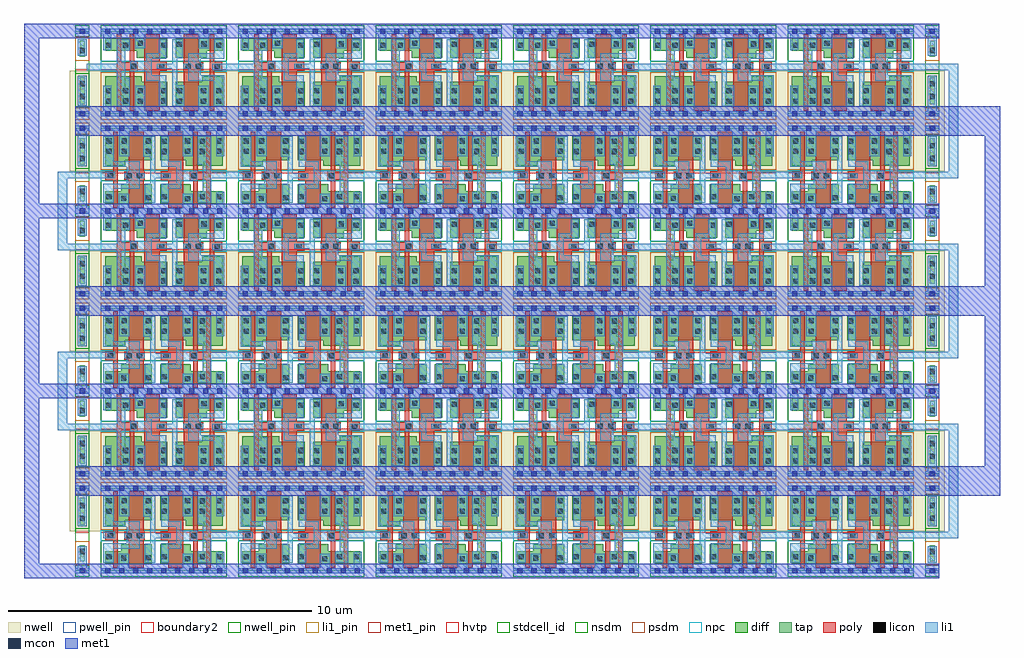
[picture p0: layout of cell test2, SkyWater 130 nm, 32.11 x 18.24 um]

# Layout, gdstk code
from math import pi, radians
import gdstk
lib = gdstk.Library(unit=1e-6, precision=1e-09)
def R(c, l, rs):  # rectangles x0, y0, x1, y1
    for r in rs: c.add(gdstk.rectangle(r[:2], r[2:], *l))
def A(c, l, x, y, w, h, nx, ny, dx, dy):  # array of equal rectangles
    R(c, l, [(x+i*dx, y+j*dy, x+i*dx+w, y+j*dy+h) for i in range(nx) for j in range(ny)])
def P(c, l, *ps):  # polygons
    for p in ps: c.add(gdstk.Polygon(p, *l))
nwell_pin = (64, 16)
nwell = (64, 20)
diff = (65, 20)
tap = (65, 44)
poly = (66, 20)
licon = (66, 44)
li1_pin = (67, 16)
li1 = (67, 20)
mcon = (67, 44)
met1_pin = (68, 16)
met1 = (68, 20)
hvtp = (78, 44)
stdcell_id = (81, 4)
nsdm = (93, 44)
psdm = (94, 20)
npc = (95, 20)
pwell_pin = (122, 16)
boundary2 = (236, 0)

sky130_fd_sc_hd__tap_1 = lib.new_cell('sky130_fd_sc_hd__tap_1')
R(sky130_fd_sc_hd__tap_1, nwell, [(-0.19,1.305,0.65,2.91)])
R(sky130_fd_sc_hd__tap_1, tap, [(0.145,0.32,0.315,0.845), (0.145,1.525,0.315,2.4)])
R(sky130_fd_sc_hd__tap_1, licon, [(0.145,0.555,0.315,0.725), (0.145,1.645,0.315,1.815), (0.145,2.065,0.315,2.235)])
R(sky130_fd_sc_hd__tap_1, li1_pin, [(0.19,0.47,0.27,0.565), (0.145,1.81,0.285,1.93)])
R(sky130_fd_sc_hd__tap_1, li1, [(0.085,0.265,0.375,0.81), (0.085,1.47,0.375,2.455)])
R(sky130_fd_sc_hd__tap_1, mcon, [(0.145,-0.085,0.315,0.085), (0.145,2.635,0.315,2.805)])
R(sky130_fd_sc_hd__tap_1, met1_pin, [(0.14,-0.05,0.34,0.07), (0.13,2.675,0.345,2.775)])
R(sky130_fd_sc_hd__tap_1, hvtp, [(0,1.25,0.46,2.72)])
R(sky130_fd_sc_hd__tap_1, stdcell_id, [(0,0,0.46,2.72)])
R(sky130_fd_sc_hd__tap_1, nsdm, [(0,-0.19,0.46,0.19), (0,1.395,0.46,2.53)])
R(sky130_fd_sc_hd__tap_1, psdm, [(0,0.19,0.46,0.975), (0,2.53,0.46,2.91)])
sky130_fd_sc_hd__tap_1.add(gdstk.FlexPath([(0,2.72),(0.46,2.72)], 0.48, ends="flush", simple_path=True, layer=68, datatype=20))  # met1
sky130_fd_sc_hd__tap_1.add(gdstk.FlexPath([(0,0),(0.46,0)], 0.48, ends="flush", simple_path=True, layer=68, datatype=20))  # met1
sky130_fd_sc_hd__tap_1.add(gdstk.FlexPath([(0,0),(0.46,0)], 0.17, ends="flush", simple_path=True, layer=67, datatype=20))  # li1
sky130_fd_sc_hd__tap_1.add(gdstk.FlexPath([(0,2.72),(0.46,2.72)], 0.17, ends="flush", simple_path=True, layer=67, datatype=20))  # li1
sky130_fd_sc_hd__tap_1.add(gdstk.Label('VGND', (0.23,0), layer=68, texttype=5))
sky130_fd_sc_hd__tap_1.add(gdstk.Label('VPWR', (0.23,2.72), layer=68, texttype=5))
sky130_fd_sc_hd__tap_1.add(gdstk.Label('VNB', (0.23,0.51), layer=67, texttype=5))
sky130_fd_sc_hd__tap_1.add(gdstk.Label('VPB', (0.23,1.87), layer=67, texttype=5))
sky130_fd_sc_hd__tap_1.add(gdstk.Label('tap_1', (0,0), layer=83, texttype=44))

sky130_fd_sc_hd__clkdlyb = lib.new_cell('sky130_fd_sc_hd__clkdlybuf4s50_2')
R(sky130_fd_sc_hd__clkdlyb, nwell_pin, [(0.15,2.635,0.32,2.805)])
R(sky130_fd_sc_hd__clkdlyb, nwell, [(-0.19,1.305,4.33,2.91)])
P(sky130_fd_sc_hd__clkdlyb, diff, [(1.68,2.485),(0.135,2.485),(0.135,1.485),(0.805,1.485),(0.805,1.665),(1.68,1.665)],
  [(1.68,0.885),(0.665,0.885),(0.665,0.655),(0.135,0.655),(0.135,0.235),(1.68,0.235)],
  [(4.005,2.485),(1.95,2.485),(1.95,1.665),(2.79,1.665),(2.79,1.485),(4.005,1.485)],
  [(4.005,0.655),(2.96,0.655),(2.96,0.885),(1.95,0.885),(1.95,0.235),(4.005,0.235)])
P(sky130_fd_sc_hd__clkdlyb, poly, [(0.555,2.615),(0.405,2.615),(0.405,1.305),(0.15,1.305),(0.15,1.015),(0.405,1.015),(0.405,0.105),(0.555,0.105)],
  [(1.435,1.295),(1.415,1.295),(1.415,2.615),(0.915,2.615),(0.915,1.295),(0.765,1.295),(0.765,1.025),(0.915,1.025),(0.915,0.105),(1.415,0.105),(1.415,1.025),(1.435,1.025)],
  [(2.71,2.615),(2.21,2.615),(2.21,1.305),(1.975,1.305),(1.975,1.015),(2.21,1.015),(2.21,0.105),(2.71,0.105)],
  [(3.615,2.615),(3.465,2.615),(3.465,1.295),(3.19,1.295),(3.19,2.615),(3.04,2.615),(3.04,1.325),(2.92,1.325),(2.92,0.995),(3.04,0.995),(3.04,0.105),(3.19,0.105),(3.19,1.025),(3.465,1.025),(3.465,0.105),(3.615,0.105)])
R(sky130_fd_sc_hd__clkdlyb, licon, [(2.765,0.315,2.935,0.485), (0.665,0.34,0.835,0.51), (1.47,0.35,1.64,0.52), (0.18,0.385,0.35,0.555), (1.99,0.385,2.16,0.555), (3.245,0.385,3.415,0.555), (3.795,0.385,3.965,0.555), (0.23,1.075,0.4,1.245), (0.845,1.075,1.015,1.245), (1.185,1.075,1.355,1.245), (2.055,1.075,2.225,1.245), (2.97,1.075,3.14,1.245), (1.99,1.875,2.16,2.045), (3.245,1.875,3.415,2.045), (0.18,1.88,0.35,2.05), (0.68,1.88,0.85,2.05), (1.47,1.88,1.64,2.05), (2.765,1.88,2.935,2.05), (3.795,1.88,3.965,2.05), (1.99,2.215,2.16,2.385), (3.245,2.215,3.415,2.385), (0.18,2.22,0.35,2.39), (0.68,2.22,0.85,2.39), (1.47,2.22,1.64,2.39), (2.765,2.22,2.935,2.39), (3.795,2.22,3.965,2.39)])
A(sky130_fd_sc_hd__clkdlyb, li1_pin, 3.39, 0.425, 0.17, 0.17, 1, 6, 0, 0.34)
R(sky130_fd_sc_hd__clkdlyb, li1_pin, [(0.15,1.105,0.32,1.275)])
R(sky130_fd_sc_hd__clkdlyb, li1, [(0.085,1.075,0.48,1.285)])
P(sky130_fd_sc_hd__clkdlyb, li1, [(4.14,0.085),(4.055,0.085),(4.055,0.635),(3.795,0.635),(3.795,0.085),(3.015,0.085),(3.015,0.565),(2.685,0.565),(2.685,0.085),(0.915,0.085),(0.915,0.565),(0.585,0.565),(0.585,0.085),(0,0.085),(0,-0.085),(4.14,-0.085)],
  [(4.14,2.805),(0,2.805),(0,2.635),(0.6,2.635),(0.6,1.8),(0.93,1.8),(0.93,2.635),(2.685,2.635),(2.685,1.8),(3.015,1.8),(3.015,2.635),(3.795,2.635),(3.795,1.8),(4.055,1.8),(4.055,2.635),(4.14,2.635)],
  [(1.435,1.245),(1.27,1.245),(1.27,1.63),(0.43,1.63),(0.43,2.465),(0.085,2.465),(0.085,1.455),(0.85,1.455),(0.85,1.245),(0.765,1.245),(0.765,1.075),(0.85,1.075),(0.85,0.905),(0.085,0.905),(0.085,0.27),(0.415,0.27),(0.415,0.735),(1.27,0.735),(1.27,1.075),(1.435,1.075)],
  [(2.305,1.245),(1.795,1.245),(1.795,2.465),(1.39,2.465),(1.39,1.785),(1.625,1.785),(1.625,0.9),(1.44,0.9),(1.44,0.27),(1.795,0.27),(1.795,1.075),(2.305,1.075)],
  [(3.175,1.325),(2.645,1.325),(2.645,1.63),(2.235,1.63),(2.235,2.465),(1.985,2.465),(1.985,1.46),(2.475,1.46),(2.475,0.905),(1.985,0.905),(1.985,0.27),(2.235,0.27),(2.235,0.735),(2.645,0.735),(2.645,0.995),(3.175,0.995)],
  [(3.625,2.465),(3.185,2.465),(3.185,1.53),(3.345,1.53),(3.345,0.64),(3.185,0.64),(3.185,0.27),(3.625,0.27)])
A(sky130_fd_sc_hd__clkdlyb, mcon, 0.145, -0.085, 0.17, 0.17, 9, 2, 0.46, 2.72)
R(sky130_fd_sc_hd__clkdlyb, met1_pin, [(0.15,-0.085,0.32,0.085), (0.15,2.635,0.32,2.805)])
R(sky130_fd_sc_hd__clkdlyb, hvtp, [(0,1.25,4.14,2.72)])
R(sky130_fd_sc_hd__clkdlyb, stdcell_id, [(0,0,4.14,2.72)])
R(sky130_fd_sc_hd__clkdlyb, nsdm, [(0,-0.19,4.14,1.015)])
R(sky130_fd_sc_hd__clkdlyb, psdm, [(0,1.355,4.14,2.91)])
R(sky130_fd_sc_hd__clkdlyb, npc, [(0,0.975,4.14,1.345)])
R(sky130_fd_sc_hd__clkdlyb, pwell_pin, [(0.15,-0.085,0.32,0.085)])
R(sky130_fd_sc_hd__clkdlyb, boundary2, [(0,0,4.14,2.72)])
sky130_fd_sc_hd__clkdlyb.add(gdstk.FlexPath([(0,2.72),(4.14,2.72)], 0.48, ends="flush", simple_path=True, layer=68, datatype=20))  # met1
sky130_fd_sc_hd__clkdlyb.add(gdstk.FlexPath([(0,0),(4.14,0)], 0.48, ends="flush", simple_path=True, layer=68, datatype=20))  # met1
sky130_fd_sc_hd__clkdlyb.add(gdstk.Label('A', (0.235,1.19), layer=67, texttype=5))
sky130_fd_sc_hd__clkdlyb.add(gdstk.Label('X', (3.475,2.21), layer=67, texttype=5))
sky130_fd_sc_hd__clkdlyb.add(gdstk.Label('X', (3.475,1.87), layer=67, texttype=5))
sky130_fd_sc_hd__clkdlyb.add(gdstk.Label('X', (3.475,1.53), layer=67, texttype=5))
sky130_fd_sc_hd__clkdlyb.add(gdstk.Label('X', (3.475,1.19), layer=67, texttype=5))
sky130_fd_sc_hd__clkdlyb.add(gdstk.Label('X', (3.475,0.85), layer=67, texttype=5))
sky130_fd_sc_hd__clkdlyb.add(gdstk.Label('X', (3.475,0.51), layer=67, texttype=5))
sky130_fd_sc_hd__clkdlyb.add(gdstk.Label('VNB', (0.23,0), layer=64, texttype=59))
sky130_fd_sc_hd__clkdlyb.add(gdstk.Label('VPB', (0.23,2.72), layer=64, texttype=5))
sky130_fd_sc_hd__clkdlyb.add(gdstk.Label('VGND', (0.23,0), layer=68, texttype=5))
sky130_fd_sc_hd__clkdlyb.add(gdstk.Label('VPWR', (0.23,2.72), layer=68, texttype=5))
sky130_fd_sc_hd__clkdlyb.add(gdstk.Label('clkdlybuf4s50_2', (0,0), layer=83, texttype=44))

sp_delay_rot = lib.new_cell('sp_delay_rot')
R(sp_delay_rot, li1_pin, [(1.355,0.845,1.635,2.165), (28.105,0.905,28.275,1.075), (27.18,1.475,27.35,1.645), (28.105,1.995,28.275,2.165)])
A(sp_delay_rot, li1, 4.895, 1.435, 0.98, 0.21, 5, 1, 4.52, 0)
R(sp_delay_rot, li1, [(28.045,0.085,28.335,0.265), (1.355,0.845,1.635,1.435), (28.105,0.905,28.275,1.075), (0.375,1.435,1.635,1.645), (27.18,1.475,27.35,1.645), (1.355,1.645,1.635,2.165), (28.105,1.995,28.275,2.165), (28.045,2.455,28.335,2.635)])
R(sp_delay_rot, met1, [(0,-0.24,28.42,0.24), (0,2.48,28.42,2.96)])
sp_delay_rot.add(gdstk.Reference(sky130_fd_sc_hd__tap_1, (28.42,2.72), rotation=pi))
sp_delay_rot.add(gdstk.Reference(sky130_fd_sc_hd__tap_1, (0.46,2.72), rotation=pi))
sp_delay_rot.add(gdstk.Reference(sky130_fd_sc_hd__clkdlyb, (27.58,2.72), rotation=pi))
sp_delay_rot.add(gdstk.Reference(sky130_fd_sc_hd__clkdlyb, (23.06,2.72), rotation=pi))
sp_delay_rot.add(gdstk.Reference(sky130_fd_sc_hd__clkdlyb, (18.54,2.72), rotation=pi))
sp_delay_rot.add(gdstk.Reference(sky130_fd_sc_hd__clkdlyb, (14.02,2.72), rotation=pi))
sp_delay_rot.add(gdstk.Reference(sky130_fd_sc_hd__clkdlyb, (9.5,2.72), rotation=pi))
sp_delay_rot.add(gdstk.Reference(sky130_fd_sc_hd__clkdlyb, (4.98,2.72), rotation=pi))
sp_delay_rot.add(gdstk.Label('VCC', (28.19,0.99), layer=67, texttype=5))
sp_delay_rot.add(gdstk.Label('VSS', (28.19,2.08), layer=67, texttype=5))
sp_delay_rot.add(gdstk.Label('VIN', (27.265,1.56), layer=67, texttype=5))
sp_delay_rot.add(gdstk.Label('VOUT', (1.495,1.505), layer=67, texttype=5))

sp_delay = lib.new_cell('sp_delay')
A(sp_delay, li1, 4.465, 1.075, 0.98, 0.21, 6, 1, 4.52, 0)
R(sp_delay, li1, [(0.085,0.085,0.375,0.265), (0.085,2.455,0.375,2.635)])
R(sp_delay, met1, [(0,-0.24,28.42,0.24), (0,2.48,28.42,2.96)])
sp_delay.add(gdstk.Reference(sky130_fd_sc_hd__tap_1, (0,0)))
sp_delay.add(gdstk.Reference(sky130_fd_sc_hd__tap_1, (27.96,0)))
sp_delay.add(gdstk.Reference(sky130_fd_sc_hd__clkdlyb, (0.84,0)))
sp_delay.add(gdstk.Reference(sky130_fd_sc_hd__clkdlyb, (5.36,0)))
sp_delay.add(gdstk.Reference(sky130_fd_sc_hd__clkdlyb, (9.88,0)))
sp_delay.add(gdstk.Reference(sky130_fd_sc_hd__clkdlyb, (14.4,0)))
sp_delay.add(gdstk.Reference(sky130_fd_sc_hd__clkdlyb, (18.92,0)))
sp_delay.add(gdstk.Reference(sky130_fd_sc_hd__clkdlyb, (23.44,0)))

sp_delay2x = lib.new_cell('sp_delay2x')
R(sp_delay2x, nwell, [(0,1.545,28.8,4.855)])
R(sp_delay2x, li1_pin, [(0.335,0.795,0.505,0.965), (1.26,1.315,1.43,1.485), (0.335,1.885,0.505,2.055), (1.545,4.285,1.825,5.605)])
R(sp_delay2x, li1, [(0.335,0.795,0.505,0.965), (1.26,1.315,1.43,1.485), (28.235,1.315,29.23,1.525), (28.93,1.525,29.23,4.875), (0.335,1.885,0.505,2.055), (1.545,4.285,1.825,5.605), (27.685,4.875,29.23,5.085)])
R(sp_delay2x, met1, [(-1.5,0,0.19,0.48), (-1.5,0.48,-1,5.92), (-1.5,5.92,0.19,6.4)])
sp_delay2x.add(gdstk.Reference(sp_delay_rot, (0.19,3.44)))
sp_delay2x.add(gdstk.Reference(sp_delay, (0.19,0.24)))
sp_delay2x.add(gdstk.Label('VCC', (0.42,1.97), layer=67, texttype=5))
sp_delay2x.add(gdstk.Label('VSS', (0.42,0.88), layer=67, texttype=5))
sp_delay2x.add(gdstk.Label('VIN', (1.345,1.4), layer=67, texttype=5))
sp_delay2x.add(gdstk.Label('VOUT', (1.685,4.945), layer=67, texttype=5))

test2 = lib.new_cell('test2')
R(test2, li1, [(1.115,4.875,2.615,5.085), (1.115,5.085,1.415,7.235), (1.115,7.235,2.615,7.445), (1.115,10.795,2.615,11.005), (1.115,11.005,1.415,13.155), (1.115,13.155,2.615,13.365)])
A(test2, met1, 30.11, 2.72, 2, 0.96, 1, 3, 0, 5.92)
R(test2, met1, [(31.61,3.68,32.11,8.64), (31.61,9.6,32.11,14.56)])
A(test2, nsdm, 2.54, 6.05, 4.12, 0.22, 6, 2, 4.52, 5.92)
test2.add(gdstk.Reference(sp_delay2x, (1.5,11.84)))
test2.add(gdstk.Reference(sp_delay2x, (1.5,5.92)))
test2.add(gdstk.Reference(sp_delay2x, (1.5,0)))

lib.write_gds('test2.gds')
